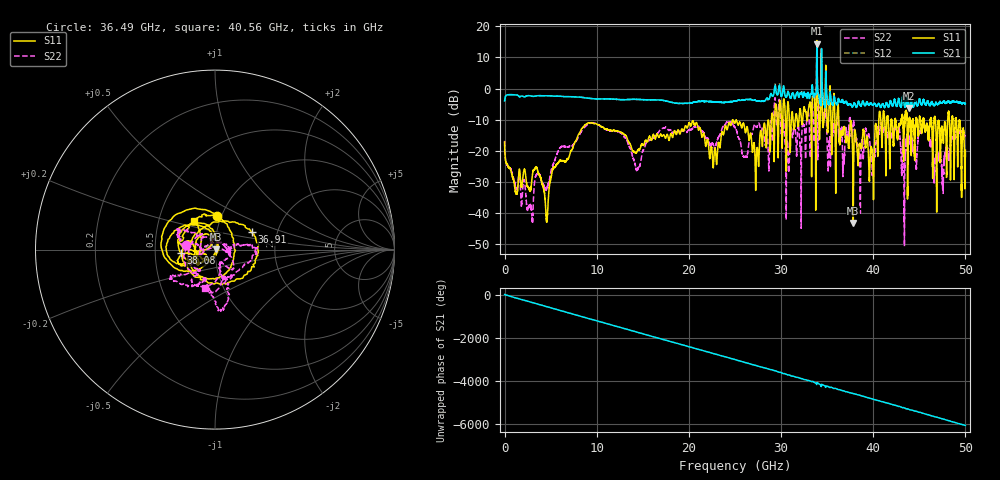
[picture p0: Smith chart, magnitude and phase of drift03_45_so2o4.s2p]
!Created with skrf (http://scikit-rf.org).
# Hz S RI R 50.0
!freq ReS11 ImS11 ReS21 ImS21 ReS12 ImS12 ReS22 ImS22
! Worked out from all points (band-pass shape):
!   10001 points, 300 kHz to 50 GHz, reference 50 ohm
!   highest |S21| = 14.50 dB at 33.88 GHz (marker M1); lowest = -6.2 dB at 43.9 GHz (marker M2)
!   |S21| within 3 dB of the highest: 33.8694 GHz to 33.88814 GHz (18.74 MHz wide, 0.0553 % of centre); 34.37742 GHz to 34.3892 GHz (11.78 MHz wide, 0.0343 % of centre)
!   lowest |S11| = -43.4 dB at 37.84 GHz (marker M3), VSWR 1.01, Z = 50.7 + j0.0808 ohm
!   |S11| at or under -10 dB: start of sweep to 28.94 GHz; 36.26 GHz to 40.61 GHz (4.341 GHz wide, 11.3 % of centre); 46.75 GHz to 48.08 GHz (1.333 GHz wide, 2.81 % of centre) (the widest 3 of 62)
!   |S22| runs from -50.8 to 11.0 dB; largest |S21 - S12| = 0.8
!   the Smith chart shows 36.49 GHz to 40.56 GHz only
!   S11 on the Smith chart (normalised r, x): 36.49 GHz: 0.95, +0.37; 36.91 GHz: 1.48, +0.31; 38.08 GHz: 0.68, -0.03; 40.56 GHz: 0.75, +0.25
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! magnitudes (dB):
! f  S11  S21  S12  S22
! 300 kHz  -17.3  -4.0  -4.0  -16.9
! 2.825 GHz  -32.5  -2.4  -2.4  -38.3
! 4.56 GHz  -42.9  -2.3  -2.3  -32.2
! 8.335 GHz  -13.1  -2.8  -2.8  -13.9
! 14.44 GHz  -19.9  -3.5  -3.5  -26.2
! 16.67 GHz  -15.4  -3.7  -3.7  -14.3
! 22.82 GHz  -19.3  -4.3  -4.3  -19.1
! 25 GHz  -11.0  -4.0  -4.0  -12.5
! 27.39 GHz  -19.4  -4.1  -4.1  -12.4
! 29.6 GHz  -10.4  -2.0  -2.1  -11.7
! 30.7 GHz  -5.5  -1.4  -1.4  -17.1
! 33.34 GHz  -13.9  -0.4  -0.5  -7.1
! 33.88 GHz  15.5  14.5  14.2  11.0
! 36.49 GHz  -14.5  -4.4  -4.3  -15.6
! 36.91 GHz  -12.8  -4.5  -4.5  -19.2
! 37.84 GHz  -43.4  -5.5  -5.5  -11.2
! 38.08 GHz  -14.3  -5.5  -5.4  -17.0
! 40.56 GHz  -14.0  -4.9  -4.9  -13.2
! 41.67 GHz  -12.2  -5.9  -5.9  -15.0
! 43.9 GHz  -9.7  -6.2  -6.2  -16.8
! 47.57 GHz  -15.5  -4.4  -4.3  -30.5
! 50 GHz  -19.9  -4.9  -4.9  -15.0
